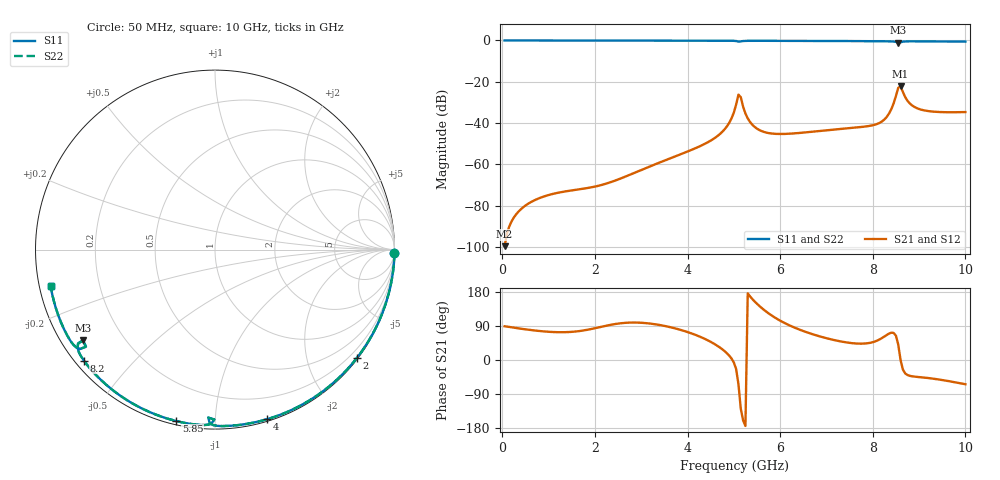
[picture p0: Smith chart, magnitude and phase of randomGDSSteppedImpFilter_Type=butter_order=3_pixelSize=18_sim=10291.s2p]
! freq	dB(S11)	phase(S11)	dB(S12)	phase(S12)
!  dB(S21)	phase(S21)	dB(S22)	phase(S22)
!S-par simulation data
#  GHz  S  DB  R 50
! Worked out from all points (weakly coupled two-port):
!   200 points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, 50 MHz to 10 GHz, reference 50 ohm
!   highest |S21| = -22.25 dB at 8.6 GHz (marker M1); lowest = -99.6 dB at 50 MHz (marker M2)
!   lowest |S11| = -1.0 dB at 8.55 GHz (marker M3), VSWR 17.46, Z = 3.14 - j15.5 ohm
!   |S11| at or under -10 dB: nowhere
!   |S22| runs from -1.0 to 0.0 dB; largest |S21 - S12| = 0
!   S11 on the Smith chart (normalised r, x): 50 MHz: open; 2 GHz: 0.03, -2.94; 4 GHz: 0.02, -1.35; 5.85 GHz: 0.02, -0.80; 8.2 GHz: 0.02, -0.37; 10 GHz: 0.03, -0.11
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0.05  -0.00 -1.0  -99.62 89.0  -99.62 89.0  -0.00 -1.0
0.5  -0.01 -9.6  -79.95 80.9  -79.95 80.9  -0.01 -9.6
1  -0.02 -19.0  -74.85 74.4  -74.85 74.4  -0.02 -19.0
1.75  -0.04 -33.0  -71.79 77.9  -71.79 77.9  -0.04 -32.9
2  -0.05 -37.5  -70.77 83.8  -70.77 83.8  -0.05 -37.5
3.4  -0.08 -62.5  -59.08 92.4  -59.08 92.4  -0.08 -62.5
4  -0.10 -72.9  -53.79 73.8  -53.79 73.8  -0.10 -72.8
4.75  -0.13 -85.6  -44.24 28.4  -44.24 28.4  -0.13 -85.6
4.95  -0.16 -89.3  -37.74 3.8  -37.74 3.8  -0.16 -89.3
5.05  -0.27 -91.7  -30.99 -24.0  -30.99 -24.0  -0.27 -91.6
5.1  -0.57 -92.3  -26.23 -64.7  -26.23 -64.7  -0.56 -92.3
5.25  -0.21 -92.4  -35.38 -174.0  -35.38 -174.0  -0.20 -92.4
5.4  -0.17 -95.3  -40.83 160.7  -40.83 160.7  -0.17 -95.3
5.85  -0.18 -102.7  -45.14 114.8  -45.14 114.8  -0.18 -102.7
6.7  -0.23 -116.1  -44.19 68.1  -44.19 68.1  -0.23 -116.1
8.2  -0.38 -139.7  -39.20 58.1  -39.20 58.1  -0.38 -139.7
8.35  -0.43 -142.4  -35.44 69.7  -35.44 69.7  -0.43 -142.4
8.55  -1.00 -145.5  -22.93 40.7  -22.93 40.7  -0.98 -145.4
8.6  -0.92 -143.0  -22.25 0.0  -22.25 0.0  -0.91 -143.1
8.75  -0.44 -146.2  -29.22 -39.7  -29.22 -39.7  -0.44 -146.2
8.95  -0.43 -150.0  -32.76 -44.5  -32.76 -44.5  -0.43 -150.0
10  -0.56 -167.4  -34.68 -64.0  -34.68 -64.0  -0.56 -167.4
